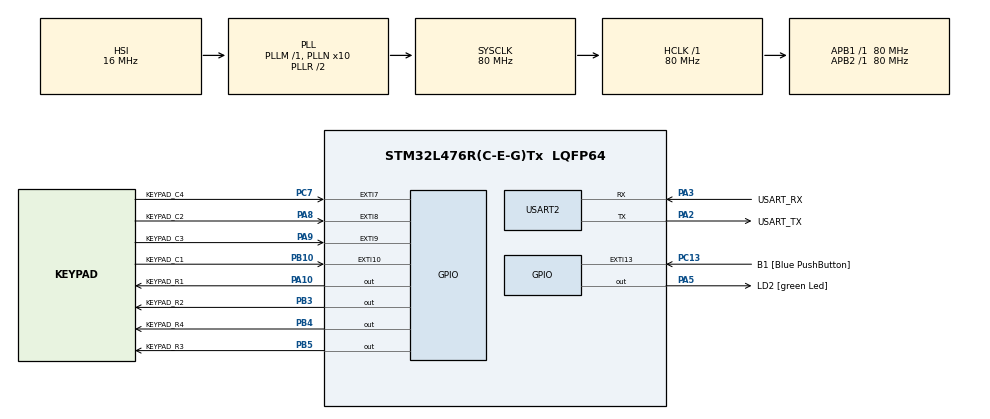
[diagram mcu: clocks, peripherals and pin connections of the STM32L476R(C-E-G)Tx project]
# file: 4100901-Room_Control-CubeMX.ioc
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Mcu.Family=STM32L4
Mcu.Name=STM32L476R(C-E-G)Tx
Mcu.Package=LQFP64
NVIC.EXTI15_10_IRQn=true\:0\:0\:false\:false\:true\:true\:true\:true
NVIC.EXTI9_5_IRQn=true\:0\:0\:false\:false\:true\:true\:true\:true
NVIC.PriorityGroup=NVIC_PRIORITYGROUP_4
PA10.GPIO_Label=KEYPAD_R1
PA10.Signal=GPIO_Output
PA13\ (JTMS-SWDIO).GPIO_Label=TMS
PA13\ (JTMS-SWDIO).Mode=Serial_Wire
PA13\ (JTMS-SWDIO).Signal=SYS_JTMS-SWDIO
PA14\ (JTCK-SWCLK).GPIO_Label=TCK
PA14\ (JTCK-SWCLK).Mode=Serial_Wire
PA14\ (JTCK-SWCLK).Signal=SYS_JTCK-SWCLK
PA2.GPIO_Label=USART_TX
PA2.GPIO_Mode=GPIO_MODE_AF_PP
PA2.GPIO_PuPd=GPIO_NOPULL
PA2.GPIO_Speed=GPIO_SPEED_FREQ_VERY_HIGH
PA2.Mode=Asynchronous
PA2.Signal=USART2_TX
PA3.GPIO_Label=USART_RX
PA3.GPIO_Mode=GPIO_MODE_AF_PP
PA3.GPIO_PuPd=GPIO_NOPULL
PA3.GPIO_Speed=GPIO_SPEED_FREQ_VERY_HIGH
PA3.Mode=Asynchronous
PA3.Signal=USART2_RX
PA5.GPIO_Label=LD2 [green Led]
PA5.GPIO_ModeDefaultOutputPP=GPIO_MODE_OUTPUT_PP
PA5.GPIO_PuPd=GPIO_NOPULL
PA5.GPIO_Speed=GPIO_SPEED_FREQ_LOW
PA5.Signal=GPIO_Output
PA8.GPIO_Label=KEYPAD_C2
PA8.GPIO_ModeDefaultEXTI=GPIO_MODE_IT_FALLING
PA8.GPIO_PuPd=GPIO_PULLUP
PA8.Signal=GPXTI8
PA9.GPIO_Label=KEYPAD_C3
PA9.GPIO_ModeDefaultEXTI=GPIO_MODE_IT_FALLING
PA9.GPIO_PuPd=GPIO_PULLUP
PA9.Signal=GPXTI9
PB10.GPIO_Label=KEYPAD_C1
PB10.GPIO_ModeDefaultEXTI=GPIO_MODE_IT_FALLING
PB10.GPIO_PuPd=GPIO_PULLUP
PB10.Signal=GPXTI10
PB3\ (JTDO-TRACESWO).GPIO_Label=KEYPAD_R2
PB3\ (JTDO-TRACESWO).Signal=GPIO_Output
PB4\ (NJTRST).GPIO_Label=KEYPAD_R4
PB4\ (NJTRST).Signal=GPIO_Output
PB5.GPIO_Label=KEYPAD_R3
PB5.Signal=GPIO_Output
PC13.GPIO_Label=B1 [Blue PushButton]
PC13.GPIO_ModeDefaultEXTI=GPIO_MODE_IT_FALLING
PC13.GPIO_PuPd=GPIO_NOPULL
PC13.Signal=GPXTI13
PC14-OSC32_IN\ (PC14).Mode=LSE-External-Oscillator
PC14-OSC32_IN\ (PC14).Signal=RCC_OSC32_IN
PC15-OSC32_OUT\ (PC15).Mode=LSE-External-Oscillator
PC15-OSC32_OUT\ (PC15).Signal=RCC_OSC32_OUT
PC7.GPIO_Label=KEYPAD_C4
PC7.GPIO_ModeDefaultEXTI=GPIO_MODE_IT_FALLING
PC7.GPIO_PuPd=GPIO_PULLUP
PC7.Signal=GPXTI7
PH0-OSC_IN\ (PH0).Signal=RCC_OSC_IN
PH1-OSC_OUT\ (PH1).Signal=RCC_OSC_OUT
ProjectManager.HeapSize=0x200
ProjectManager.StackSize=0x400
ProjectManager.TargetToolchain=CMake
RCC.ADCFreq_Value=64000000
RCC.AHBFreq_Value=80000000
RCC.APB1Freq_Value=80000000
RCC.APB1TimFreq_Value=80000000
RCC.APB2Freq_Value=80000000
RCC.APB2TimFreq_Value=80000000
RCC.CortexFreq_Value=80000000
RCC.HCLKFreq_Value=80000000
RCC.HSE_VALUE=8000000
RCC.HSI_VALUE=16000000
RCC.MSI_VALUE=4000000
RCC.PLLN=10
RCC.PLLSourceVirtual=RCC_PLLSOURCE_HSI
RCC.PREFETCH_ENABLE=1
RCC.SYSCLKFreq_VALUE=80000000
RCC.SYSCLKSource=RCC_SYSCLKSOURCE_PLLCLK
RCC.USBFreq_Value=64000000
RCC.VCOOutputFreq_Value=160000000
USART2.VirtualMode-Asynchronous=VM_ASYNC
board=NUCLEO-L476RG

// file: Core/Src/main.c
/* USER CODE BEGIN Header */
/**
  ******************************************************************************
  * @file           : main.c
  * @brief          : Main program body
  ******************************************************************************
  */
/* USER CODE END Header */
#include "main.h"

/* USER CODE BEGIN Includes */
#include "led_driver.h"
#include "ring_buffer.h"
#include "keypad_driver.h"
#include <stdio.h>
/* USER CODE END Includes */

/* USER CODE BEGIN PD */
#define UART2_RX_LEN 16
#define KEYPAD_BUFFER_LEN 16
/* USER CODE END PD */

UART_HandleTypeDef huart2;

/* USER CODE BEGIN PV */
uint8_t uart2_rx_buffer[UART2_RX_LEN];
uint8_t uart2_rx_data;
ring_buffer_t uart2_rx_rb;

uint8_t keypad_buffer[KEYPAD_BUFFER_LEN];
ring_buffer_t keypad_rb;

keypad_handle_t keypad = {
    .row_ports = {KEYPAD_R1_GPIO_Port, KEYPAD_R2_GPIO_Port, KEYPAD_R3_GPIO_Port, KEYPAD_R4_GPIO_Port},
    .row_pins  = {KEYPAD_R1_Pin, KEYPAD_R2_Pin, KEYPAD_R3_Pin, KEYPAD_R4_Pin},
    .col_ports = {KEYPAD_C1_GPIO_Port, KEYPAD_C2_GPIO_Port, KEYPAD_C3_GPIO_Port, KEYPAD_C4_GPIO_Port},
    .col_pins  = {KEYPAD_C1_Pin, KEYPAD_C2_Pin, KEYPAD_C3_Pin, KEYPAD_C4_Pin}
};
/* USER CODE END PV */

void SystemClock_Config(void);
static void MX_GPIO_Init(void);
static void MX_USART2_UART_Init(void);
/* USER CODE BEGIN PFP */
int __io_putchar(int ch);
/* USER CODE END PFP */

/* USER CODE BEGIN 0 */

// Redirige printf a UART2
int __io_putchar(int ch) {
    HAL_UART_Transmit(&huart2, (uint8_t *)&ch, 1, HAL_MAX_DELAY);
    return ch;
}
void HAL_UART_RxCpltCallback(UART_HandleTypeDef *huart)
{
    if (huart->Instance == USART2) {
      HAL_UART_Receive_IT(&huart2, &uart2_rx_data, 1);
      ring_buffer_write(&uart2_rx_rb, uart2_rx_data);
    }
}

void HAL_GPIO_EXTI_Callback(uint16_t GPIO_Pin) {
    char key = keypad_scan(&keypad, GPIO_Pin);
    if (key != '\0') {
      printf("Interrupción: tecla detectada '%c'\r\n", key);  // <--- DEBUG
        ring_buffer_write(&keypad_rb, (uint8_t)key);
    }
}
/* USER CODE END 0 */

int main(void)
{

  /* MCU Configuration--------------------------------------------------------*/

  /* Reset of all peripherals, Initializes the Flash interface and the Systick. */
  HAL_Init();

  /* Configure the system clock */
  SystemClock_Config();

  /* Initialize all configured peripherals */
  MX_GPIO_Init();
  MX_USART2_UART_Init();
  /* USER CODE BEGIN 2 */
  ring_buffer_init(&uart2_rx_rb, uart2_rx_buffer, UART2_RX_LEN);
  // Initialize the keypad
  ring_buffer_init(&keypad_rb, keypad_buffer, KEYPAD_BUFFER_LEN);
  keypad_init(&keypad);
  printf("Sistema listo. Esperando pulsaciones del teclado...\r\n");

  HAL_UART_Receive_IT(&huart2, &uart2_rx_data, 1);
  /* USER CODE END 2 */

  /* Infinite loop */
  /* USER CODE BEGIN WHILE */
  while (1) {
    uint8_t key_from_buffer;
    if (ring_buffer_count(&keypad_rb) > 0) {
    printf("Tecla en buffer, procesando...\r\n");
    }
    if (ring_buffer_count(&uart2_rx_rb) >= 5) {
      // If there are at least 5 bytes in the ring buffer, read and process them
      for (int i = 0; i < 5; i++) {
        if (ring_buffer_read(&uart2_rx_rb, &uart2_rx_data)) {
          // Process the received data (for example, print it)
          HAL_UART_Transmit(&huart2, &uart2_rx_data, 1, HAL_MAX_DELAY);
        }
      }
    }
    if (ring_buffer_read(&keypad_rb, &key_from_buffer)) {
        printf("Tecla presionada: %c\r\n", (char)key_from_buffer);
    }
    /* USER CODE END WHILE */

  }
}

void SystemClock_Config(void)
{
  RCC_OscInitTypeDef RCC_OscInitStruct = {0};
  RCC_ClkInitTypeDef RCC_ClkInitStruct = {0};

  /** Configure the main internal regulator output voltage
  */
  if (HAL_PWREx_ControlVoltageScaling(PWR_REGULATOR_VOLTAGE_SCALE1) != HAL_OK)
  {
    Error_Handler();
  }

  /** Initializes the RCC Oscillators according to the specified parameters
  * in the RCC_OscInitTypeDef structure.
  */
  RCC_OscInitStruct.OscillatorType = RCC_OSCILLATORTYPE_HSI;
  RCC_OscInitStruct.HSIState = RCC_HSI_ON;
  RCC_OscInitStruct.HSICalibrationValue = RCC_HSICALIBRATION_DEFAULT;
  RCC_OscInitStruct.PLL.PLLState = RCC_PLL_ON;
  RCC_OscInitStruct.PLL.PLLSource = RCC_PLLSOURCE_HSI;
  RCC_OscInitStruct.PLL.PLLM = 1;
  RCC_OscInitStruct.PLL.PLLN = 10;
  RCC_OscInitStruct.PLL.PLLP = RCC_PLLP_DIV7;
  RCC_OscInitStruct.PLL.PLLQ = RCC_PLLQ_DIV2;
  RCC_OscInitStruct.PLL.PLLR = RCC_PLLR_DIV2;
  if (HAL_RCC_OscConfig(&RCC_OscInitStruct) != HAL_OK)
  {
    Error_Handler();
  }

  /** Initializes the CPU, AHB and APB buses clocks
  */
  RCC_ClkInitStruct.ClockType = RCC_CLOCKTYPE_HCLK|RCC_CLOCKTYPE_SYSCLK
                              |RCC_CLOCKTYPE_PCLK1|RCC_CLOCKTYPE_PCLK2;
  RCC_ClkInitStruct.SYSCLKSource = RCC_SYSCLKSOURCE_PLLCLK;
  RCC_ClkInitStruct.AHBCLKDivider = RCC_SYSCLK_DIV1;
  RCC_ClkInitStruct.APB1CLKDivider = RCC_HCLK_DIV1;
  RCC_ClkInitStruct.APB2CLKDivider = RCC_HCLK_DIV1;

  if (HAL_RCC_ClockConfig(&RCC_ClkInitStruct, FLASH_LATENCY_4) != HAL_OK)
  {
    Error_Handler();
  }
}

static void MX_USART2_UART_Init(void)
{

  huart2.Instance = USART2;
  huart2.Init.BaudRate = 115200;
  huart2.Init.WordLength = UART_WORDLENGTH_8B;
  huart2.Init.StopBits = UART_STOPBITS_1;
  huart2.Init.Parity = UART_PARITY_NONE;
  huart2.Init.Mode = UART_MODE_TX_RX;
  huart2.Init.HwFlowCtl = UART_HWCONTROL_NONE;
  huart2.Init.OverSampling = UART_OVERSAMPLING_16;
  huart2.Init.OneBitSampling = UART_ONE_BIT_SAMPLE_DISABLE;
  huart2.AdvancedInit.AdvFeatureInit = UART_ADVFEATURE_NO_INIT;
  if (HAL_UART_Init(&huart2) != HAL_OK)
  {
    Error_Handler();
  }

}

static void MX_GPIO_Init(void)
{
  GPIO_InitTypeDef GPIO_InitStruct = {0};

  /* GPIO Ports Clock Enable */
  __HAL_RCC_GPIOC_CLK_ENABLE();
  __HAL_RCC_GPIOH_CLK_ENABLE();
  __HAL_RCC_GPIOA_CLK_ENABLE();
  __HAL_RCC_GPIOB_CLK_ENABLE();

  /*Configure GPIO pin Output Level */
  HAL_GPIO_WritePin(GPIOA, LD2_Pin|KEYPAD_R1_Pin, GPIO_PIN_RESET);

  /*Configure GPIO pin Output Level */
  HAL_GPIO_WritePin(GPIOB, KEYPAD_R2_Pin|KEYPAD_R4_Pin|KEYPAD_R3_Pin, GPIO_PIN_RESET);

  /*Configure GPIO pin : B1_Pin */
  GPIO_InitStruct.Pin = B1_Pin;
  GPIO_InitStruct.Mode = GPIO_MODE_IT_FALLING;
  GPIO_InitStruct.Pull = GPIO_NOPULL;
  HAL_GPIO_Init(B1_GPIO_Port, &GPIO_InitStruct);

  /*Configure GPIO pins : LD2_Pin KEYPAD_R1_Pin */
  GPIO_InitStruct.Pin = LD2_Pin|KEYPAD_R1_Pin;
  GPIO_InitStruct.Mode = GPIO_MODE_OUTPUT_PP;
  GPIO_InitStruct.Pull = GPIO_NOPULL;
  GPIO_InitStruct.Speed = GPIO_SPEED_FREQ_LOW;
  HAL_GPIO_Init(GPIOA, &GPIO_InitStruct);

  /*Configure GPIO pin : KEYPAD_C1_Pin */
  GPIO_InitStruct.Pin = KEYPAD_C1_Pin;
  GPIO_InitStruct.Mode = GPIO_MODE_IT_FALLING;
  GPIO_InitStruct.Pull = GPIO_PULLUP;
  HAL_GPIO_Init(KEYPAD_C1_GPIO_Port, &GPIO_InitStruct);

  /*Configure GPIO pin : KEYPAD_C4_Pin */
  GPIO_InitStruct.Pin = KEYPAD_C4_Pin;
  GPIO_InitStruct.Mode = GPIO_MODE_IT_FALLING;
  GPIO_InitStruct.Pull = GPIO_PULLUP;
  HAL_GPIO_Init(KEYPAD_C4_GPIO_Port, &GPIO_InitStruct);

  /*Configure GPIO pins : KEYPAD_C2_Pin KEYPAD_C3_Pin */
  GPIO_InitStruct.Pin = KEYPAD_C2_Pin|KEYPAD_C3_Pin;
  GPIO_InitStruct.Mode = GPIO_MODE_IT_FALLING;
  GPIO_InitStruct.Pull = GPIO_PULLUP;
  HAL_GPIO_Init(GPIOA, &GPIO_InitStruct);

  /*Configure GPIO pins : KEYPAD_R2_Pin KEYPAD_R4_Pin KEYPAD_R3_Pin */
  GPIO_InitStruct.Pin = KEYPAD_R2_Pin|KEYPAD_R4_Pin|KEYPAD_R3_Pin;
  GPIO_InitStruct.Mode = GPIO_MODE_OUTPUT_PP;
  GPIO_InitStruct.Pull = GPIO_NOPULL;
  GPIO_InitStruct.Speed = GPIO_SPEED_FREQ_LOW;
  HAL_GPIO_Init(GPIOB, &GPIO_InitStruct);

  /* EXTI interrupt init*/
  HAL_NVIC_SetPriority(EXTI9_5_IRQn, 0, 0);
  HAL_NVIC_EnableIRQ(EXTI9_5_IRQn);

  HAL_NVIC_SetPriority(EXTI15_10_IRQn, 0, 0);
  HAL_NVIC_EnableIRQ(EXTI15_10_IRQn);

}

void Error_Handler(void)
{
  __disable_irq();
  while (1)
  {
  }
}
